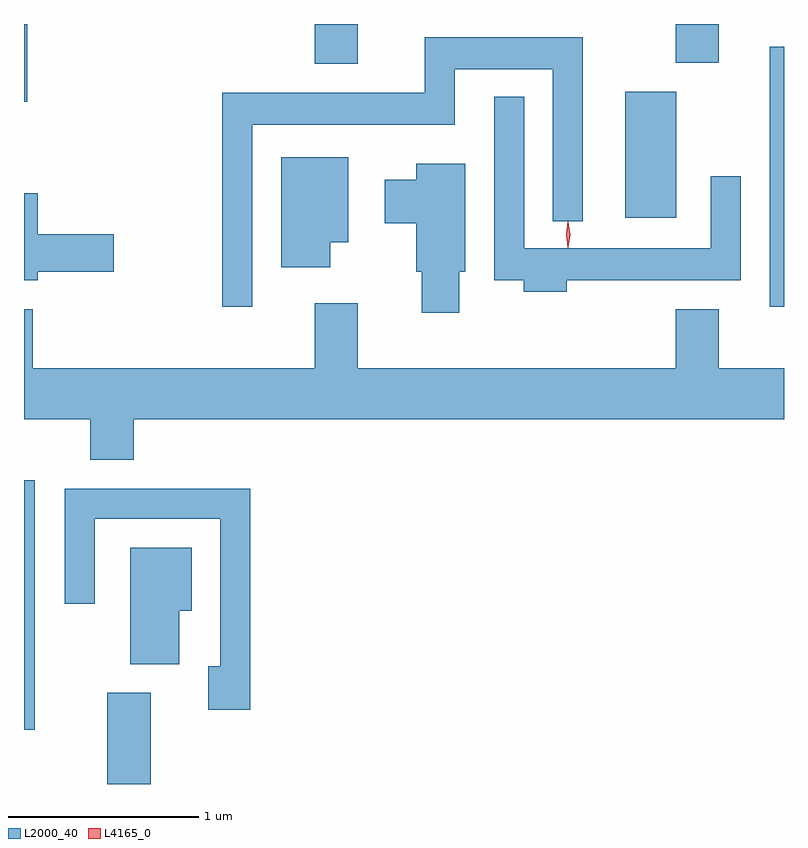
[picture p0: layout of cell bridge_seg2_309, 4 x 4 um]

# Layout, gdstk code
import gdstk
lib = gdstk.Library(unit=1e-6, precision=1e-09)
def R(c, l, rs):  # rectangles x0, y0, x1, y1
    for r in rs: c.add(gdstk.rectangle(r[:2], r[2:], *l))
def P(c, l, *ps):  # polygons
    for p in ps: c.add(gdstk.Polygon(p, *l))
L2000_40 = (2000, 40)
L4165_0 = (4165, 0)

bridge_seg2_309 = lib.new_cell('bridge_seg2_309')
R(bridge_seg2_309, L2000_40, [(410.851,1044.175,411.079,1044.654), (410.412,1044.461,410.469,1045.774), (414.336,1046.688,414.412,1048.054), (413.576,1047.156,413.844,1047.819), (410.412,1047.767,410.429,1048.175), (411.941,1047.966,412.169,1048.175), (413.841,1047.971,414.069,1048.175)])
P(bridge_seg2_309, L2000_40, [(411.614,1047.646),(412.679,1047.646),(412.679,1047.936),(413.196,1047.936),(413.196,1047.138),(413.354,1047.138),(413.354,1048.104),(412.521,1048.104),(412.521,1047.814),(411.456,1047.814),(411.456,1046.688),(411.614,1046.688)],
  [(413.269,1046.826),(414.184,1046.826),(414.184,1047.373),(414.026,1047.373),(414.026,1046.994),(413.044,1046.994),(413.044,1047.793),(412.886,1047.793),(412.886,1046.826),(413.041,1046.826),(413.041,1046.766),(413.269,1046.766)],
  [(412.024,1047.026),(412.119,1047.026),(412.119,1047.474),(411.766,1047.474),(411.766,1046.896),(412.024,1046.896)],
  [(412.704,1046.871),(412.734,1046.871),(412.734,1047.439),(412.476,1047.439),(412.476,1047.354),(412.311,1047.354),(412.311,1047.126),(412.476,1047.126),(412.476,1046.871),(412.506,1046.871),(412.506,1046.656),(412.704,1046.656)],
  [(410.484,1046.871),(410.884,1046.871),(410.884,1047.069),(410.484,1047.069),(410.484,1047.284),(410.412,1047.284),(410.412,1046.826),(410.484,1046.826)],
  [(410.989,1046.096),(414.412,1046.096),(414.412,1046.364),(414.069,1046.364),(414.069,1046.674),(413.841,1046.674),(413.841,1046.364),(412.169,1046.364),(412.169,1046.704),(411.941,1046.704),(411.941,1046.364),(410.459,1046.364),(410.459,1046.674),(410.412,1046.674),(410.412,1046.096),(410.761,1046.096),(410.761,1045.881),(410.989,1045.881)],
  [(411.604,1045.729),(410.626,1045.729),(410.626,1045.123),(410.784,1045.123),(410.784,1045.571),(411.446,1045.571),(411.446,1044.794),(411.381,1044.794),(411.381,1044.566),(411.604,1044.566)],
  [(411.229,1045.086),(411.294,1045.086),(411.294,1045.419),(410.971,1045.419),(410.971,1044.806),(411.229,1044.806)])
P(bridge_seg2_309, L4165_0, [(413.276,1047),(413.276,1047),(413.266,1047.066),(413.276,1047.132),(413.276,1047.133),(413.277,1047.132),(413.286,1047.066),(413.277,1047)],
  [(413.274,1046.997),(413.265,1047.067),(413.274,1047.136),(413.275,1047.136),(413.276,1047.136),(413.285,1047.067),(413.276,1046.997),(413.275,1046.997)])

lib.write_gds('bridge_seg2_309.gds')
